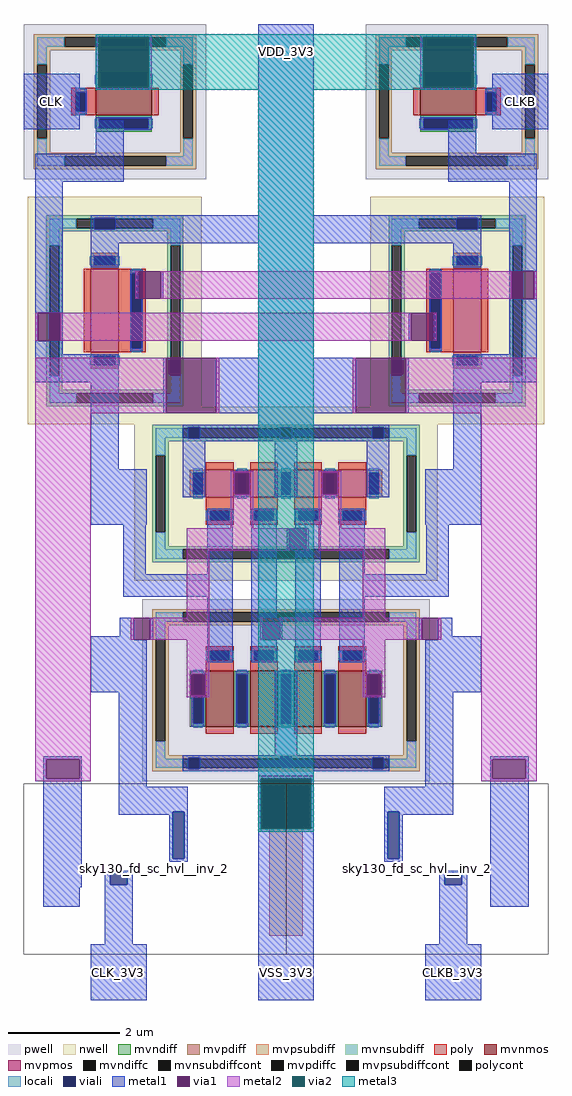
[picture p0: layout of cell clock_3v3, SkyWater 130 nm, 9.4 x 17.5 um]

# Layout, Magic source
magic
tech sky130A
magscale 1 2
<< mvpsubdiff >>
rect 1440 -2034 1560 -1554
<< viali >>
rect 838 1150 998 1190
rect 2002 1150 2162 1190
rect 812 500 888 540
rect 2112 500 2188 540
rect 1080 -20 1120 30
rect 1880 -20 1920 30
rect 1093 -1758 1135 -1589
rect 1865 -1758 1907 -1589
rect 870 -1850 930 -1810
rect 2070 -1850 2130 -1810
<< metal1 >>
rect 818 1190 1018 1200
rect 560 858 760 1058
rect 818 1010 828 1190
rect 1008 1010 1018 1190
rect 818 1000 1018 1010
rect 818 770 918 890
rect 600 670 918 770
rect 600 200 700 670
rect 1400 550 1600 1236
rect 1982 1190 2182 1200
rect 1982 1010 1992 1190
rect 2172 1010 2182 1190
rect 1982 1000 2182 1010
rect 2082 770 2182 890
rect 2240 858 2440 1058
rect 2082 670 2400 770
rect 800 540 2200 550
rect 800 500 812 540
rect 888 500 2112 540
rect 2188 500 2200 540
rect 800 450 2200 500
rect 800 370 900 450
rect 960 250 970 350
rect 1050 250 1060 350
rect 600 100 610 200
rect 690 100 700 200
rect 600 52 700 100
rect 600 -48 900 52
rect 1400 40 1600 450
rect 2100 370 2200 450
rect 2300 350 2400 670
rect 2300 250 2310 350
rect 2390 250 2400 350
rect 1940 100 1950 200
rect 2030 100 2040 200
rect 2300 52 2400 250
rect 800 -394 900 -48
rect 1060 -160 1070 40
rect 1250 -160 1750 40
rect 1930 -160 1940 40
rect 2100 -48 2400 52
rect 2100 -394 2200 -48
rect 630 -1400 768 -1390
rect 630 -1470 640 -1400
rect 760 -1470 768 -1400
rect 630 -1860 768 -1470
rect 900 -1500 1000 -973
rect 1220 -1444 1810 -1386
rect 900 -1589 1147 -1500
rect 900 -1600 1093 -1589
rect 1081 -1758 1093 -1600
rect 1135 -1758 1147 -1589
rect 1081 -1768 1147 -1758
rect 1400 -1650 1410 -1600
rect 2000 -1500 2100 -973
rect 1853 -1589 2100 -1500
rect 1590 -1650 1600 -1600
rect 850 -1810 950 -1800
rect 850 -1850 870 -1810
rect 930 -1850 950 -1810
rect 630 -1930 760 -1860
rect 850 -2064 950 -1850
rect 800 -2264 1000 -2064
rect 1400 -2264 1600 -1650
rect 1853 -1758 1865 -1589
rect 1907 -1600 2100 -1589
rect 2232 -1400 2370 -1390
rect 2232 -1470 2240 -1400
rect 2360 -1470 2370 -1400
rect 1907 -1758 1919 -1600
rect 1853 -1768 1919 -1758
rect 2050 -1810 2150 -1800
rect 2050 -1850 2070 -1810
rect 2130 -1850 2150 -1810
rect 2050 -2064 2150 -1850
rect 2232 -1930 2370 -1470
rect 2000 -2264 2200 -2064
<< via1 >>
rect 828 1150 838 1190
rect 838 1150 998 1190
rect 998 1150 1008 1190
rect 828 1010 1008 1150
rect 1992 1150 2002 1190
rect 2002 1150 2162 1190
rect 2162 1150 2172 1190
rect 1992 1010 2172 1150
rect 970 250 1050 350
rect 610 100 690 200
rect 2310 250 2390 350
rect 1950 100 2030 200
rect 1070 30 1250 40
rect 1070 -20 1080 30
rect 1080 -20 1120 30
rect 1120 -20 1250 30
rect 1070 -160 1250 -20
rect 1750 30 1930 40
rect 1750 -20 1880 30
rect 1880 -20 1920 30
rect 1920 -20 1930 30
rect 1750 -160 1930 -20
rect 640 -1470 760 -1400
rect 1410 -1650 1590 -1470
rect 2240 -1470 2360 -1400
<< metal2 >>
rect 818 1190 1018 1200
rect 818 1010 828 1190
rect 1008 1010 1018 1190
rect 818 1000 1018 1010
rect 1982 1190 2182 1200
rect 1982 1010 1992 1190
rect 2172 1010 2182 1190
rect 1982 1000 2182 1010
rect 960 250 970 350
rect 1050 250 2310 350
rect 2390 250 2400 350
rect 600 100 610 200
rect 690 100 1950 200
rect 2030 100 2040 200
rect 600 -160 1070 40
rect 1250 -160 1260 40
rect 1740 -160 1750 40
rect 1930 -160 2400 40
rect 600 -1400 800 -160
rect 600 -1470 640 -1400
rect 760 -1470 800 -1400
rect 2200 -1400 2400 -160
rect 600 -1480 800 -1470
rect 1400 -1470 1600 -1460
rect 1400 -1650 1410 -1470
rect 1590 -1650 1600 -1470
rect 2200 -1470 2240 -1400
rect 2360 -1470 2400 -1400
rect 2200 -1480 2400 -1470
rect 1400 -1660 1600 -1650
<< via2 >>
rect 828 1010 1008 1190
rect 1992 1010 2172 1190
rect 1410 -1650 1590 -1470
<< metal3 >>
rect 818 1190 2182 1200
rect 818 1010 828 1190
rect 1008 1010 1992 1190
rect 2172 1010 2182 1190
rect 818 1000 2182 1010
rect 1400 -1470 1600 1000
rect 1400 -1650 1410 -1470
rect 1590 -1650 1600 -1470
rect 1400 -1660 1600 -1650
use sky130_fd_pr__nfet_g5v0d10v5_RXSX2P  sky130_fd_pr__nfet_g5v0d10v5_RXSX2P_0
transform 0 -1 887 -1 0 958
box -278 -327 278 327
use sky130_fd_pr__nfet_g5v0d10v5_RXSX2P  sky130_fd_pr__nfet_g5v0d10v5_RXSX2P_1
transform 0 1 2113 -1 0 958
box -278 -327 278 327
use sky130_fd_pr__pfet_g5v0d10v5_7J78YG  sky130_fd_pr__pfet_g5v0d10v5_7J78YG_0
transform 0 -1 2114 1 0 208
box -408 -312 408 312
use sky130_fd_pr__pfet_g5v0d10v5_7J78YG  sky130_fd_pr__pfet_g5v0d10v5_7J78YG_2
transform 0 1 886 -1 0 208
box -408 -312 408 312
use nonoverlapping_generator  x1
transform 1 0 -4000 0 1 240
box 4800 -1900 6200 -200
use sky130_fd_sc_hvl__inv_2  x7 ~/pdk/sky130A/libs.ref/sky130_fd_sc_hvl/mag
transform 0 -1 1457 -1 0 -1554
box -66 -43 546 897
use sky130_fd_sc_hvl__inv_2  x8
transform 0 1 1543 -1 0 -1554
box -66 -43 546 897
<< labels >>
flabel metal1 1400 1036 1600 1236 0 FreeSans 256 0 0 0 VDD_3V3
port 3 nsew
flabel metal1 560 858 760 1058 0 FreeSans 256 0 0 0 CLK
port 1 nsew
flabel metal1 2240 858 2440 1058 0 FreeSans 256 0 0 0 CLKB
port 4 nsew
flabel metal1 800 -2264 1000 -2064 0 FreeSans 256 0 0 0 CLK_3V3
port 0 nsew
flabel metal1 1400 -2264 1600 -2064 0 FreeSans 256 0 0 0 VSS_3V3
port 2 nsew
flabel metal1 2000 -2264 2200 -2064 0 FreeSans 256 0 0 0 CLKB_3V3
port 5 nsew
<< end >>

# cell sky130_fd_pr__nfet_g5v0d10v5_RXSX2P: kit device sky130_fd_pr__nfet_g5v0d10v5, w 1 l 0.50 m 1 nf 1 diffcov 100 polycov 100 guard 1 glc 1 grc 1 gtc 1 gbc 1 tbcov 100 rlcov 100 topc 1 botc 0 poverlap 0 doverlap 1 lmin 0.50 wmin 0.42 compatible {sky130_fd_pr__nfet_01v8 sky130_fd_pr__nfet_01v8_lvt sky130_fd_bs_flash__special_sonosfet_star sky130_fd_pr__nfet_g5v0d10v5 sky130_fd_pr__nfet_05v0_nvt sky130_fd_pr__nfet_03v3_nvt} full_metal 1 viasrc 100 viadrn 100 viagate 100 viagb 0 viagr 0 viagl 0 viagt 0

# cell sky130_fd_pr__pfet_g5v0d10v5_7J78YG: kit device sky130_fd_pr__pfet_g5v0d10v5, w 0.5 l 1.5 m 1 nf 1 diffcov 100 polycov 100 guard 1 glc 1 grc 1 gtc 1 gbc 1 tbcov 100 rlcov 100 topc 1 botc 0 poverlap 0 doverlap 1 lmin 0.50 wmin 0.42 compatible {sky130_fd_pr__pfet_01v8 sky130_fd_pr__pfet_01v8_lvt sky130_fd_pr__pfet_01v8_hvt sky130_fd_pr__pfet_g5v0d10v5} full_metal 1 viasrc 100 viadrn 100 viagate 100 viagb 0 viagr 0 viagl 0 viagt 0

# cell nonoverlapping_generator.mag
magic
tech sky130A
magscale 1 2
<< viali >>
rect 5150 -490 5190 -450
rect 5480 -490 5520 -450
rect 5810 -490 5850 -450
rect 5150 -1675 5190 -1635
rect 5480 -1670 5520 -1630
rect 5810 -1675 5850 -1635
<< metal1 >>
rect 5400 -442 5600 -200
rect 5130 -450 5870 -442
rect 5130 -490 5150 -450
rect 5190 -490 5480 -450
rect 5520 -490 5810 -450
rect 5850 -490 5870 -450
rect 5130 -500 5870 -490
rect 4800 -800 5000 -600
rect 5130 -702 5210 -500
rect 5316 -614 5368 -608
rect 5316 -696 5368 -690
rect 5460 -702 5540 -500
rect 5632 -614 5684 -608
rect 5632 -698 5684 -690
rect 5790 -702 5870 -500
rect 4917 -977 4997 -800
rect 5217 -977 5309 -743
rect 4917 -1058 5309 -977
rect 4904 -1200 4954 -1133
rect 4800 -1213 4954 -1200
rect 5014 -1213 5024 -1133
rect 4800 -1400 5000 -1213
rect 5217 -1292 5309 -1058
rect 5375 -1133 5467 -743
rect 5533 -813 5625 -743
rect 5502 -893 5512 -813
rect 5572 -893 5625 -813
rect 5375 -1213 5417 -1133
rect 5477 -1213 5487 -1133
rect 5375 -1292 5467 -1213
rect 5533 -1292 5625 -893
rect 5691 -977 5783 -743
rect 6000 -800 6200 -600
rect 6003 -977 6083 -800
rect 5691 -1058 6083 -977
rect 5691 -1292 5783 -1058
rect 5976 -1213 5986 -1133
rect 6046 -1200 6096 -1133
rect 6046 -1213 6200 -1200
rect 5158 -1336 5210 -1330
rect 5158 -1418 5210 -1412
rect 5460 -1626 5540 -1324
rect 5790 -1336 5842 -1330
rect 6000 -1400 6200 -1213
rect 5790 -1418 5842 -1412
rect 5130 -1630 5870 -1626
rect 5130 -1635 5480 -1630
rect 5130 -1675 5150 -1635
rect 5190 -1670 5480 -1635
rect 5520 -1635 5870 -1630
rect 5520 -1670 5810 -1635
rect 5190 -1675 5810 -1670
rect 5850 -1675 5870 -1635
rect 5130 -1684 5870 -1675
rect 5400 -1900 5600 -1684
<< via1 >>
rect 5316 -690 5368 -614
rect 5632 -690 5684 -614
rect 4954 -1213 5014 -1133
rect 5512 -893 5572 -813
rect 5417 -1213 5477 -1133
rect 5986 -1213 6046 -1133
rect 5158 -1412 5210 -1336
rect 5790 -1412 5842 -1336
<< metal2 >>
rect 5302 -614 5382 -608
rect 5302 -690 5316 -614
rect 5368 -690 5382 -614
rect 5302 -813 5382 -690
rect 5618 -614 5698 -608
rect 5618 -690 5632 -614
rect 5684 -690 5698 -614
rect 5618 -813 5698 -690
rect 5144 -893 5512 -813
rect 5572 -893 5582 -813
rect 5618 -893 5856 -813
rect 5144 -1133 5224 -893
rect 5776 -1133 5856 -893
rect 4944 -1213 4954 -1133
rect 5014 -1213 5224 -1133
rect 5407 -1213 5417 -1133
rect 5477 -1213 5986 -1133
rect 6046 -1213 6056 -1133
rect 5144 -1336 5224 -1213
rect 5144 -1412 5158 -1336
rect 5210 -1412 5224 -1336
rect 5144 -1418 5224 -1412
rect 5776 -1336 5856 -1213
rect 5776 -1412 5790 -1336
rect 5842 -1412 5856 -1336
rect 5776 -1418 5856 -1412
use sky130_fd_pr__nfet_g5v0d10v5_Z6V9X8  sky130_fd_pr__nfet_g5v0d10v5_Z6V9X8_0
transform 1 0 5500 0 1 -1393
box -515 -327 515 327
use sky130_fd_pr__pfet_g5v0d10v5_HAP8US  sky130_fd_pr__pfet_g5v0d10v5_HAP8US_0
transform 1 0 5500 0 1 -688
box -545 -312 545 312
<< labels >>
flabel metal1 6000 -1400 6200 -1200 0 FreeSans 256 0 0 0 Y
port 5 nsew
flabel metal1 4800 -1400 5000 -1200 0 FreeSans 256 0 0 0 YB
port 4 nsew
flabel metal1 4800 -800 5000 -600 0 FreeSans 256 0 0 0 X
port 2 nsew
flabel metal1 6000 -800 6200 -600 0 FreeSans 256 0 0 0 XB
port 3 nsew
flabel metal1 5400 -400 5600 -200 0 FreeSans 256 0 0 0 VDD
port 1 nsew
flabel metal1 5400 -1900 5600 -1700 0 FreeSans 256 0 0 0 VSS
port 0 nsew
<< end >>

# cell sky130_fd_pr__nfet_g5v0d10v5_Z6V9X8: kit device sky130_fd_pr__nfet_g5v0d10v5, w 1 l 0.50 m 1 nf 4 diffcov 100 polycov 100 guard 1 glc 1 grc 1 gtc 1 gbc 1 tbcov 100 rlcov 100 topc 1 botc 0 poverlap 0 doverlap 1 lmin 0.50 wmin 0.42 compatible {sky130_fd_pr__nfet_01v8 sky130_fd_pr__nfet_01v8_lvt sky130_fd_bs_flash__special_sonosfet_star sky130_fd_pr__nfet_g5v0d10v5 sky130_fd_pr__nfet_05v0_nvt sky130_fd_pr__nfet_03v3_nvt} full_metal 1 viasrc 100 viadrn 100 viagate 100 viagb 0 viagr 0 viagl 0 viagt 0

# cell sky130_fd_pr__pfet_g5v0d10v5_HAP8US: kit device sky130_fd_pr__pfet_g5v0d10v5, w 0.5 l 0.50 m 1 nf 4 diffcov 100 polycov 100 guard 1 glc 1 grc 1 gtc 1 gbc 1 tbcov 100 rlcov 100 topc 0 botc 1 poverlap 0 doverlap 1 lmin 0.50 wmin 0.42 compatible {sky130_fd_pr__pfet_01v8 sky130_fd_pr__pfet_01v8_lvt sky130_fd_pr__pfet_01v8_hvt sky130_fd_pr__pfet_g5v0d10v5} full_metal 1 viasrc 100 viadrn 100 viagate 100 viagb 0 viagr 0 viagl 0 viagt 0
